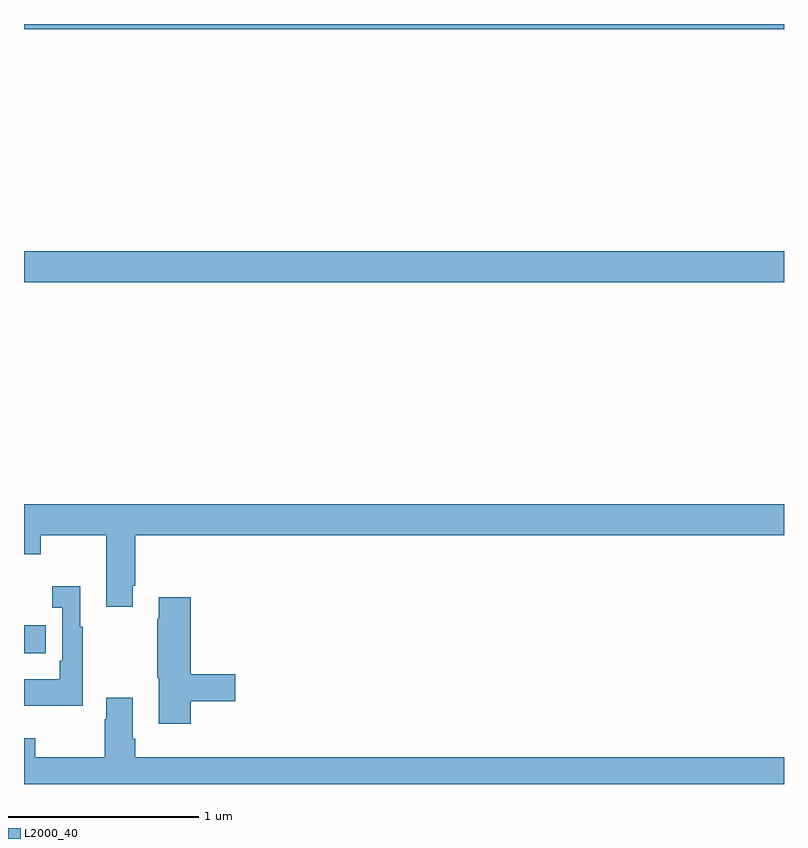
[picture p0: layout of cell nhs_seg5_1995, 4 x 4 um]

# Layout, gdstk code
import gdstk
lib = gdstk.Library(unit=1e-6, precision=1e-09)
def R(c, l, rs):  # rectangles x0, y0, x1, y1
    for r in rs: c.add(gdstk.rectangle(r[:2], r[2:], *l))
def P(c, l, *ps):  # polygons
    for p in ps: c.add(gdstk.Polygon(p, *l))
L2000_40 = (2000, 40)

nhs_seg5_1995 = lib.new_cell('nhs_seg5_1995')
R(nhs_seg5_1995, L2000_40, [(229,841.487,229.115,841.635), (229,843.44,233,843.604), (229,844.772,233,844.799)])
P(nhs_seg5_1995, L2000_40, [(229.573,841.843),(229.586,841.843),(229.586,842.108),(233,842.108),(233,842.272),(229,842.272),(229,842.009),(229.089,842.009),(229.089,842.108),(229.433,842.108),(229.433,841.731),(229.573,841.731)],
  [(229.309,841.627),(229.297,841.627),(229.297,841.84),(229.149,841.84),(229.149,841.727),(229.2,841.727),(229.2,841.447),(229.188,841.447),(229.188,841.351),(229,841.351),(229,841.211),(229.309,841.211)],
  [(229.877,841.234),(230.113,841.234),(230.113,841.376),(229.877,841.376),(229.877,841.783),(229.709,841.783),(229.709,841.67),(229.702,841.67),(229.702,841.359),(229.709,841.359),(229.709,841.116),(229.877,841.116)],
  [(233,840.94),(229.586,840.94),(229.586,841.036),(229.573,841.036),(229.573,841.252),(229.433,841.252),(229.433,841.139),(229.426,841.139),(229.426,840.94),(229.059,840.94),(229.059,841.039),(229,841.039),(229,840.799),(233,840.799)])

lib.write_gds('nhs_seg5_1995.gds')
